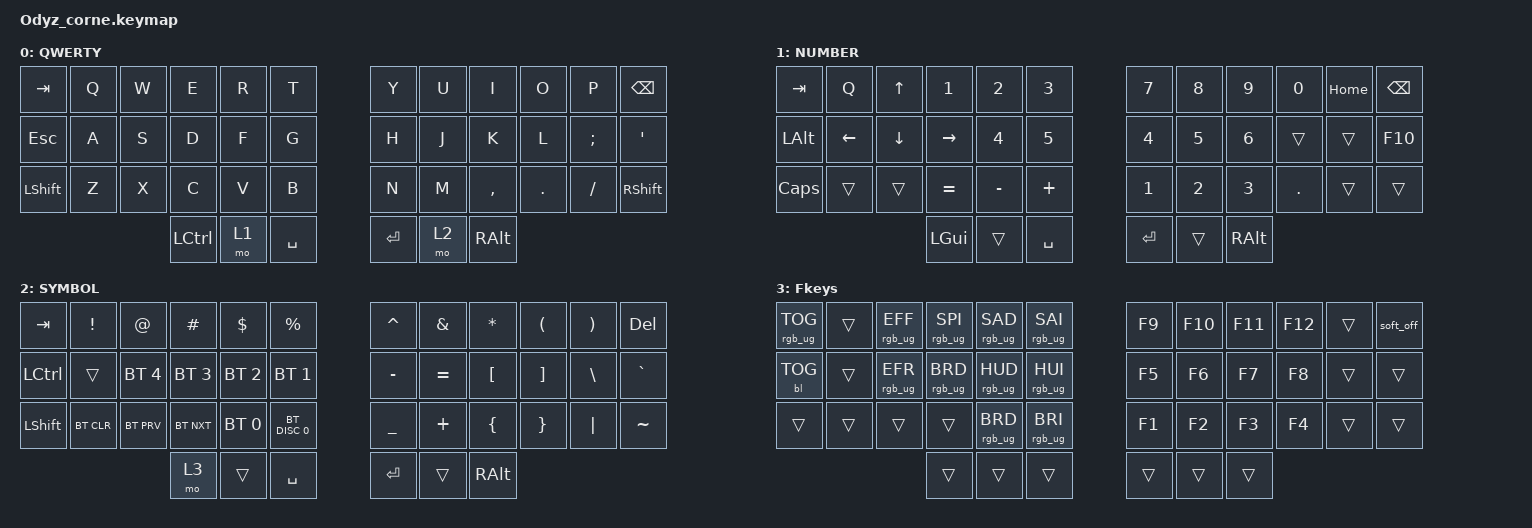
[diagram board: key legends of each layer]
#include <behaviors.dtsi>
#include <dt-bindings/zmk/backlight.h>
#include <dt-bindings/zmk/bt.h>
#include <dt-bindings/zmk/keys.h>
#include <dt-bindings/zmk/rgb.h>

/ {
    chosen {
        zmk,matrix_transform = &default_transform;

        //zmk,matrix_transform = &five_column_transform;
    };
};

/ {
    combos { compatible = "zmk,combos"; };

    keymap {
        compatible = "zmk,keymap";

        default_layer {
            label = "QWERTY";

            // -----------------------------------------------------------------------------------------
            // |  TAB |  Q  |  W  |  E  |  R  |  T  |   |  Y  |  U   |  I  |  O  |  P  | BKSP |
            // | CTRL |  A  |  S  |  D  |  F  |  G  |   |  H  |  J   |  K  |  L  |  ;  |  '   |
            // | SHFT |  Z  |  X  |  C  |  V  |  B  |   |  N  |  M   |  ,  |  .  |  /  | ESC  |
            //                    | GUI | LWR | SPC |   | ENT | RSE  | ALT |

            bindings = <
&kp TAB     &kp Q  &kp W  &kp E      &kp R  &kp T        &kp Y    &kp U  &kp I      &kp O    &kp P     &kp BSPC
&kp ESCAPE  &kp A  &kp S  &kp D      &kp F  &kp G        &kp H    &kp J  &kp K      &kp L    &kp SEMI  &kp SQT
&kp LSHFT   &kp Z  &kp X  &kp C      &kp V  &kp B        &kp N    &kp M  &kp COMMA  &kp DOT  &kp FSLH  &kp RIGHT_SHIFT
                          &kp LCTRL  &mo 1  &kp SPACE    &kp RET  &mo 2  &kp RALT
            >;
        };

        lower_layer {
            label = "NUMBER";

            // -----------------------------------------------------------------------------------------
            // |  TAB |  1  |  2  |  3  |  4  |  5  |   |  6  |  7  |  8  |  9  |  0  | BKSP |
            // | BTCLR| BT1 | BT2 | BT3 | BT4 | BT5 |   | LFT | DWN |  UP | RGT |     |      |
            // | SHFT |     |     |     |     |     |   |     |     |     |     |     |      |
            //                    | GUI |     | SPC |   | ENT |     | ALT |

            bindings = <
&kp TAB       &kp Q     &kp UP_ARROW  &kp NUMBER_1  &kp NUMBER_2  &kp NUMBER_3    &kp NUMBER_7  &kp NUMBER_8  &kp NUMBER_9  &kp NUMBER_0  &kp HOME  &kp BSPC
&kp LEFT_ALT  &kp LEFT  &kp DOWN      &kp RIGHT     &kp NUMBER_4  &kp NUMBER_5    &kp NUMBER_4  &kp NUMBER_5  &kp NUMBER_6  &trans        &trans    &kp F10
&kp CAPS      &trans    &trans        &kp EQUAL     &kp MINUS     &kp PLUS        &kp NUMBER_1  &kp NUMBER_2  &kp NUMBER_3  &kp PERIOD    &trans    &trans
                                      &kp LGUI      &trans        &kp SPACE       &kp RET       &trans        &kp RALT
            >;
        };

        raise_layer {
            label = "SYMBOL";

            // -----------------------------------------------------------------------------------------
            // |  TAB |  !  |  @  |  #  |  $  |  %  |   |  ^  |  &  |  *  |  (  |  )  | BKSP |
            // | CTRL |     |     |     |     |     |   |  -  |  =  |  [  |  ]  |  \  |  `   |
            // | SHFT |     |     |     |     |     |   |  _  |  +  |  {  |  }  | "|" |  ~   |
            //                    | GUI |     | SPC |   | ENT |     | ALT |

            bindings = <
&kp TAB    &kp EXCL    &kp AT        &kp HASH      &kp DLLR      &kp PRCNT        &kp CARET  &kp AMPS   &kp STAR  &kp LPAR  &kp RPAR  &kp DEL
&kp LCTRL  &trans      &bt BT_SEL 4  &bt BT_SEL 3  &bt BT_SEL 2  &bt BT_SEL 1     &kp MINUS  &kp EQUAL  &kp LBKT  &kp RBKT  &kp BSLH  &kp GRAVE
&kp LSHFT  &bt BT_CLR  &bt BT_PRV    &bt BT_NXT    &bt BT_SEL 0  &bt BT_DISC 0    &kp UNDER  &kp PLUS   &kp LBRC  &kp RBRC  &kp PIPE  &kp TILDE
                                     &mo 3         &trans        &kp SPACE        &kp RET    &trans     &kp RALT
            >;
        };

        adjust_layer {
            label = "Fkeys";
            bindings = <
&rgb_ug RGB_TOG  &trans  &rgb_ug RGB_EFF  &rgb_ug RGB_SPI  &rgb_ug RGB_SAD  &rgb_ug RGB_SAI    &kp F9  &kp F10  &kp F11  &kp F12  &trans  &soft_off
&bl BL_TOG       &trans  &rgb_ug RGB_EFR  &rgb_ug RGB_BRD  &rgb_ug RGB_HUD  &rgb_ug RGB_HUI    &kp F5  &kp F6   &kp F7   &kp F8   &trans  &trans
&trans           &trans  &trans           &trans           &rgb_ug RGB_BRD  &rgb_ug RGB_BRI    &kp F1  &kp F2   &kp F3   &kp F4   &trans  &trans
                                          &trans           &trans           &trans             &trans  &trans   &trans
            >;
        };
    };

    conditional_layers { compatible = "zmk,conditional-layers"; };
};
